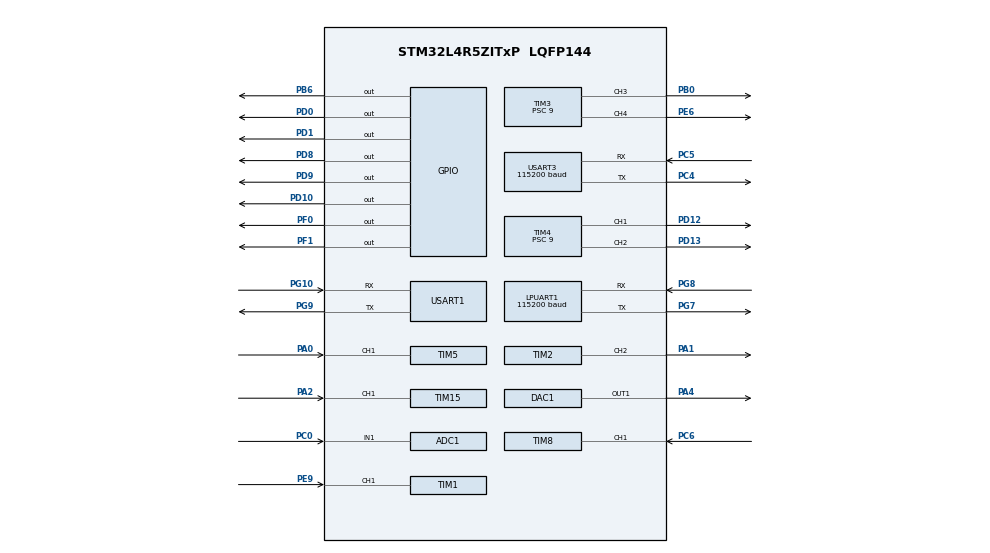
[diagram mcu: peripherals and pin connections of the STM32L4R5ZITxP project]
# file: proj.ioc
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ADC1.Channel-0\#ChannelRegularConversion=ADC_CHANNEL_1
ADC1.ClockPrescaler=ADC_CLOCK_ASYNC_DIV32
ADC1.NbrOfConversionFlag=1
ADC1.OffsetNumber-0\#ChannelRegularConversion=ADC_OFFSET_NONE
ADC1.Rank-0\#ChannelRegularConversion=1
ADC1.SamplingTime-0\#ChannelRegularConversion=ADC_SAMPLETIME_640CYCLES_5
ADC1.master=1
LPUART1.BaudRate=115200
LPUART1.WordLength=UART_WORDLENGTH_8B
Mcu.Family=STM32L4
Mcu.Name=STM32L4R5ZITxP
Mcu.Package=LQFP144
NVIC.PriorityGroup=NVIC_PRIORITYGROUP_4
NVIC.TIM1_BRK_TIM15_IRQn=true\:0\:0\:false\:false\:true\:true\:true\:true
NVIC.TIM1_CC_IRQn=true\:0\:0\:false\:false\:true\:true\:true\:true
NVIC.TIM1_TRG_COM_TIM17_IRQn=true\:0\:0\:false\:false\:true\:true\:true\:true
NVIC.TIM1_UP_TIM16_IRQn=true\:0\:0\:false\:false\:true\:true\:true\:true
NVIC.TIM5_IRQn=true\:0\:0\:false\:false\:true\:true\:true\:true
NVIC.TIM8_BRK_IRQn=true\:0\:0\:false\:false\:true\:true\:true\:true
NVIC.TIM8_CC_IRQn=true\:0\:0\:false\:false\:true\:true\:true\:true
NVIC.TIM8_TRG_COM_IRQn=true\:0\:0\:false\:false\:true\:true\:true\:true
NVIC.TIM8_UP_IRQn=true\:0\:0\:false\:false\:true\:true\:true\:true
NVIC.USART1_IRQn=true\:0\:0\:false\:false\:true\:true\:true\:true
NVIC.USART3_IRQn=true\:0\:0\:false\:false\:true\:true\:true\:true
PA0.Signal=S_TIM5_CH1
PA1.Signal=S_TIM2_CH2
PA10.Signal=USB_OTG_FS_ID
PA13\ (JTMS/SWDIO).Signal=SYS_JTMS-SWDIO
PA14\ (JTCK/SWCLK).Signal=SYS_JTCK-SWCLK
PA2.Signal=S_TIM15_CH1
PA3.Signal=ADCx_IN8
PA4.Signal=COMP_DAC11_group
PA6.Signal=SPI1_MISO
PA7.Signal=SPI1_MOSI
PA8.Signal=USB_OTG_FS_SOF
PA9.Signal=USB_OTG_FS_VBUS
PB0.Signal=S_TIM3_CH3
PB1.Signal=ADCx_IN16
PB10.Signal=S_TIM2_CH3
PB12.Signal=SAI2_FS_A
PB13.Signal=SAI2_SCK_A
PB15.Signal=SAI2_SD_A
PB2.Signal=COMP1_INP
PB3\ (JTDO/TRACESWO).Signal=SPI3_SCK
PB4\ (NJTRST).Signal=SPI3_MISO
PB5.Signal=SPI3_MOSI
PB6.Signal=GPIO_Output
PB8.Signal=I2C1_SCL
PB9.Signal=I2C1_SDA
PC0.Signal=ADCx_IN1
PC1.Signal=ADCx_IN2
PC10.Signal=SDMMC1_D2
PC11.Signal=SDMMC1_D3
PC12.Signal=SDMMC1_CK
PC13.Signal=SYS_WKUP2
PC14-OSC32_IN\ (PC14).Signal=RCC_OSC32_IN
PC15-OSC32_OUT\ (PC15).Signal=RCC_OSC32_OUT
PC2.Signal=ADCx_IN3
PC3.Signal=ADCx_IN4
PC4.Mode=Asynchronous
PC4.Signal=USART3_TX
PC5.Mode=Asynchronous
PC5.Signal=USART3_RX
PC6.Signal=S_TIM8_CH1
PC8.Signal=SDMMC1_D0
PC9.Signal=SDMMC1_D1
PD0.Signal=GPIO_Output
PD1.Signal=GPIO_Output
PD10.Signal=GPIO_Output
PD12.Signal=S_TIM4_CH1
PD13.Signal=S_TIM4_CH2
PD14.Signal=S_TIM4_CH3
PD15.Signal=S_TIM4_CH4
PD2.Signal=SDMMC1_CMD
PD3.Signal=USART2_CTS
PD4.Signal=USART2_RTS
PD5.Signal=USART2_TX
PD6.Signal=USART2_RX
PD8.Signal=GPIO_Output
PD9.Signal=GPIO_Output
PE0.Signal=S_TIM4_ETR
PE10.Signal=TIM1_CH2N
PE11.Signal=S_TIM1_CH2
PE12.Signal=TIM1_CH3N
PE13.Signal=S_TIM1_CH3
PE14.Signal=TIM1_BKIN2
PE15.Signal=TIM1_BKIN
PE2.Signal=SAI1_MCLK_A
PE3.Signal=SAI1_SD_B
PE6.Signal=S_TIM3_CH4
PE7.Signal=S_TIM1_ETR
PE8.Signal=TIM1_CH1N
PE9.Signal=S_TIM1_CH1
PF0.Signal=GPIO_Output
PF1.Signal=GPIO_Output
PF2.Signal=I2C2_SMBA
PF7.Signal=SAI1_MCLK_B
PG10.Mode=Asynchronous
PG10.Signal=USART1_RX
PG7.Mode=Asynchronous
PG7.Signal=LPUART1_TX
PG8.Mode=Asynchronous
PG8.Signal=LPUART1_RX
PG9.Mode=Asynchronous
PG9.Signal=USART1_TX
PH0-OSC_IN\ (PH0).Signal=RCC_OSC_IN
PH1-OSC_OUT\ (PH1).Signal=RCC_OSC_OUT
ProjectManager.HeapSize=0x200
ProjectManager.StackSize=0x400
ProjectManager.TargetToolchain=STM32CubeIDE
RCC.ADCFreq_Value=32000000
RCC.HSE_VALUE=8000000
RCC.HSI48_VALUE=48000000
RCC.HSI_VALUE=16000000
RCC.LSE_VALUE=32768
RCC.MSI_VALUE=4000000
RCC.PLLSAI1N=16
RCC.USBFreq_Value=32000000
RCC.VCOOutputFreq_Value=32000000
SH.ADCx_IN1.0=ADC1_IN1,IN1-Single-Ended
SH.ADCx_IN16.0=ADC1_IN16
SH.ADCx_IN2.0=ADC1_IN2
SH.ADCx_IN3.0=ADC1_IN3
SH.ADCx_IN4.0=ADC1_IN4
SH.ADCx_IN8.0=ADC1_IN8
SH.COMP_DAC11_group.0=DAC1_OUT1,DAC_OUT1
SH.S_TIM15_CH1.0=TIM15_CH1,Input_Capture1_from_TI1
SH.S_TIM1_CH1.0=TIM1_CH1,Input_Capture1_from_TI1
SH.S_TIM1_CH2.0=TIM1_CH2
SH.S_TIM1_CH3.0=TIM1_CH3
SH.S_TIM1_ETR.0=TIM1_ETR
SH.S_TIM2_CH2.0=TIM2_CH2,PWM Generation2 CH2
SH.S_TIM2_CH3.0=TIM2_CH3
SH.S_TIM3_CH3.0=TIM3_CH3,PWM Generation3 CH3
SH.S_TIM3_CH4.0=TIM3_CH4,PWM Generation4 CH4
SH.S_TIM4_CH1.0=TIM4_CH1,PWM Generation1 CH1
SH.S_TIM4_CH2.0=TIM4_CH2,PWM Generation2 CH2
SH.S_TIM4_CH3.0=TIM4_CH3
SH.S_TIM4_CH4.0=TIM4_CH4
SH.S_TIM4_ETR.0=TIM4_ETR
SH.S_TIM5_CH1.0=TIM5_CH1,Input_Capture1_from_TI1
SH.S_TIM8_CH1.0=TIM8_CH1,Input_Capture1_from_TI1
TIM1.Channel-Input_Capture1_from_TI1=TIM_CHANNEL_1
TIM1.Prescaler=3
TIM15.Channel-Input_Capture1_from_TI1=TIM_CHANNEL_1
TIM15.Prescaler=3
TIM2.Channel-PWM\ Generation2\ CH2=TIM_CHANNEL_2
TIM2.Period=65535
TIM2.Pulse-PWM\ Generation2\ CH2=1
TIM3.Channel-PWM\ Generation3\ CH3=TIM_CHANNEL_3
TIM3.Channel-PWM\ Generation4\ CH4=TIM_CHANNEL_4
TIM3.Period=1000
TIM3.Prescaler=9
TIM3.Pulse-PWM\ Generation4\ CH4=500
TIM4.Channel-PWM\ Generation1\ CH1=TIM_CHANNEL_1
TIM4.Channel-PWM\ Generation2\ CH2=TIM_CHANNEL_2
TIM4.Period=1000
TIM4.Prescaler=9
TIM4.Pulse-PWM\ Generation1\ CH1=500
TIM4.Pulse-PWM\ Generation2\ CH2=500
TIM5.Channel-Input_Capture1_from_TI1=TIM_CHANNEL_1
TIM5.Period=65535
TIM5.Prescaler=3
TIM8.Channel-Input_Capture1_from_TI1=TIM_CHANNEL_1
TIM8.Prescaler=3
USART1.VirtualMode-Asynchronous=VM_ASYNC
USART3.BaudRate=115200
USART3.VirtualMode-Asynchronous=VM_ASYNC
VP_TIM15_VS_ClockSourceINT.Mode=Internal
VP_TIM1_VS_ClockSourceINT.Mode=Internal
VP_TIM2_VS_ClockSourceINT.Mode=Internal
VP_TIM3_VS_ClockSourceINT.Mode=Internal
VP_TIM4_VS_ClockSourceINT.Mode=Internal
VP_TIM5_VS_ClockSourceINT.Mode=Internal
VP_TIM8_VS_ClockSourceINT.Mode=Internal
board=NUCLEO-L4R5ZI-P

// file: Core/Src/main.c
/* USER CODE BEGIN Header */
/**
  ******************************************************************************
  * @file           : main.c
  * @brief          : Main program body
  ******************************************************************************
  * @attention
  *
  * Copyright (c) 2023 STMicroelectronics.
  * All rights reserved.
  *
  * This software is licensed under terms that can be found in the LICENSE file
  * in the root directory of this software component.
  * If no LICENSE file comes with this software, it is provided AS-IS.
  *
  ******************************************************************************
  */
/* USER CODE END Header */
#include "main.h"

/* USER CODE BEGIN Includes */
#include "math.h"
#include <stdio.h>

/* USER CODE END Includes */

ADC_HandleTypeDef hadc1;

DAC_HandleTypeDef hdac1;

UART_HandleTypeDef hlpuart1;
UART_HandleTypeDef huart1;
UART_HandleTypeDef huart3;

TIM_HandleTypeDef htim1;
TIM_HandleTypeDef htim2;
TIM_HandleTypeDef htim3;
TIM_HandleTypeDef htim4;
TIM_HandleTypeDef htim5;
TIM_HandleTypeDef htim8;
TIM_HandleTypeDef htim15;

/* USER CODE BEGIN PV */
uint16_t x = 0;
int speed = 0;
char started = 0;
int ePulse = 0;
int ePulse1 = 0;
int ePulse2 = 0;
int ePulse3 = 0;
uint8_t recvBuf[32];
uint8_t getBlocks[] = {
			0xae,
			0xc1,
			0x20,
			0x02,
			0xff,
			0x01
	};
uint8_t buttonRec[4];
/* USER CODE END PV */

void SystemClock_Config(void);
static void MX_GPIO_Init(void);
static void MX_ADC1_Init(void);
static void MX_DAC1_Init(void);
static void MX_TIM4_Init(void);
static void MX_TIM3_Init(void);
static void MX_USART3_UART_Init(void);
static void MX_USART1_UART_Init(void);
static void MX_TIM1_Init(void);
static void MX_TIM2_Init(void);
static void MX_TIM5_Init(void);
static void MX_TIM8_Init(void);
static void MX_TIM15_Init(void);
static void MX_LPUART1_UART_Init(void);

int main(void)
{
  /* USER CODE BEGIN 1 */

	uint8_t i, lenReceived;
	uint8_t versionRequest[] =
	{
			0xae,
			0xc1,
			0x0e,
			0x00
	};

	uint8_t setLED[] = {
			0xae,
			0xc1,
			0x14,
			0x03,
			0x00,
			0xff,
			0x00
	};

  /* USER CODE END 1 */

  /* MCU Configuration--------------------------------------------------------*/

  /* Reset of all peripherals, Initializes the Flash interface and the Systick. */
  HAL_Init();

  /* Configure the system clock */
  SystemClock_Config();

  /* Initialize all configured peripherals */
  MX_GPIO_Init();
  MX_ADC1_Init();
  MX_DAC1_Init();
  MX_TIM4_Init();
  MX_TIM3_Init();
  MX_USART3_UART_Init();
  MX_USART1_UART_Init();
  MX_TIM1_Init();
  MX_TIM2_Init();
  MX_TIM5_Init();
  MX_TIM8_Init();
  MX_TIM15_Init();
  MX_LPUART1_UART_Init();
  /* USER CODE BEGIN 2 */
  HAL_GPIO_WritePin(GPIOB, GPIO_PIN_6, GPIO_PIN_SET);

 // HAL_TIM_Base_Start(&htim2);
  HAL_TIM_PWM_Start(&htim2, TIM_CHANNEL_2); //Starts timer 4
  HAL_TIM_IC_Start_IT(&htim5, TIM_CHANNEL_1); //Starts timer 2
  HAL_TIM_IC_Start_IT(&htim15, TIM_CHANNEL_1); //Starts timer 2
  HAL_TIM_IC_Start_IT(&htim1, TIM_CHANNEL_1); //Starts timer 2
  HAL_TIM_IC_Start_IT(&htim8, TIM_CHANNEL_1); //Starts timer 2

 // HAL_UART_Receive_IT(&huart3, recvBuf, 20);
  //HAL_UART_Transmit(&huart3, getBlocks, 6, 1000);

 // HAL_UART_Transmit_IT(&huart3, getBlocks, 6); //You need to toggle a breakpoint on this line!

  /* USER CODE END 2 */

  /* Infinite loop */
  /* USER CODE BEGIN WHILE */

  //motor
  HAL_GPIO_WritePin(GPIOF,GPIO_PIN_1, GPIO_PIN_SET); //L
  HAL_GPIO_WritePin(GPIOF, GPIO_PIN_0, GPIO_PIN_RESET);
  HAL_GPIO_WritePin(GPIOD, GPIO_PIN_0, GPIO_PIN_RESET);
  HAL_GPIO_WritePin(GPIOD, GPIO_PIN_1, GPIO_PIN_SET);

  HAL_TIM_Base_Start(&htim4); //RIGHT D13 CH2
  HAL_TIM_Base_Start(&htim3); //LEFT B0 CH3
  HAL_TIM_PWM_Start(&htim4, TIM_CHANNEL_2);
  HAL_TIM_PWM_Start(&htim3, TIM_CHANNEL_3);
  set_throttle(htim3, htim4, 0);
//  __HAL_TIM_SET_COMPARE(&htim3, TIM_CHANNEL_3, 999); //L
//  	__HAL_TIM_SET_COMPARE(&htim4, TIM_CHANNEL_2,999); //R
  i = 1;
  //uint16_t x = 0;

  HAL_UART_Receive_IT(&huart1, buttonRec, 1);
 // HAL_UART_Transmit_IT(&huart3, getBlocks, 6);
//  float history[8];
//  int index = 0;
char counter = 0;
int init_pos;

char col_start = 0;
  while (1)
  {
	 if(started){

		const float factor = 1/144.0f;
		const float limit = 40.0f;

		float a = (ePulse * factor > limit) ? limit : ePulse * factor;
		float a1 = (ePulse1 * factor > limit) ? limit : ePulse1 * factor;
		float a2 = (ePulse2 * factor > limit) ? limit : ePulse2 * factor;
		float a3 = (ePulse3 * factor > limit) ? limit : ePulse3 * factor;

		float avgLHS = (a2 * a) * 0.5f;
		float avgCenter = (a + a3) * 0.5f;
		float avgRHS = (a1+ a3) * 0.5f;
		float avg = (a1+ a3 + a + a2) * 0.25f;
		if ((avgLHS < 15) || (avgCenter < 15) ||(avgRHS < 15) || (avg < 15)) {
			++counter;
		}

	  if (counter == 2){
		  counter = 0;
		  HAL_GPIO_WritePin(GPIOF,GPIO_PIN_0, GPIO_PIN_SET);
		  HAL_GPIO_WritePin(GPIOF, GPIO_PIN_1, GPIO_PIN_RESET);
		  HAL_GPIO_WritePin(GPIOD, GPIO_PIN_1, GPIO_PIN_RESET);
		  HAL_GPIO_WritePin(GPIOD, GPIO_PIN_0, GPIO_PIN_SET);
		  HAL_Delay(200);
		  set_throttle(htim3,htim4, 0);
		  HAL_Delay(300);
		  HAL_GPIO_WritePin(GPIOF,GPIO_PIN_1, GPIO_PIN_SET);
		  HAL_GPIO_WritePin(GPIOF, GPIO_PIN_0, GPIO_PIN_RESET);
		  HAL_GPIO_WritePin(GPIOD, GPIO_PIN_0, GPIO_PIN_RESET);
		  HAL_GPIO_WritePin(GPIOD, GPIO_PIN_1, GPIO_PIN_SET);

		  HAL_Delay(1500);
		  a = (ePulse * factor > limit) ? limit : ePulse * factor;
		  a1 = (ePulse1 * factor > limit) ? limit : ePulse1 * factor;
		  a2 = (ePulse2 * factor > limit) ? limit : ePulse2 * factor;
		  a3 = (ePulse3 * factor > limit) ? limit : ePulse3 * factor;

		  avgLHS = (a2 * a) * 0.5f;
		  avgCenter = (a + a3) * 0.5f;
		  avgRHS = (a1+ a3) * 0.5f;
		  avg = (a1+ a3 + a + a2) * 0.25f;

		  if ((avgLHS < 15) || (avgCenter < 15) ||(avgRHS < 15) || (avg < 15)) {
			  HAL_UART_Transmit(&huart3, getBlocks, 6, 500);
			  		 // HAL_UART_Receive(&huart3, recvBuf, 20,500);
			  		  //col_start = 1;

			  		  //x = (((uint16_t)(recvBuf[9]) << 8) + recvBuf[8]);
//			  while (x != init_pos){
//				  a = (ePulse * factor > limit) ? limit : ePulse * factor;
//				  		  a1 = (ePulse1 * factor > limit) ? limit : ePulse1 * factor;
//				  		  a2 = (ePulse2 * factor > limit) ? limit : ePulse2 * factor;
//				  		  a3 = (ePulse3 * factor > limit) ? limit : ePulse3 * factor;
//
//
//				  		  avgLHS = (a2 * a) * 0.5f;
//				  		  avgCenter = (a + a3) * 0.5f;
//				  		  avgRHS = (a1+ a3) * 0.5f;
//				  		  avg = (a1+ a3 + a + a2) * 0.25f;
//				  		  if (!((avgLHS < 15) || (avgCenter < 15) ||(avgRHS < 15) || (avg < 15))){
//				  			  break;
//				  		  }
//				  init_pos = x;
//			  }
			collision_avoidance(htim3, htim4, avg, x);
//			  turn(htim3, htim4, 700, 700, 'L');
//			  HAL_Delay(1200);
//
//			  HAL_GPIO_WritePin(GPIOF,GPIO_PIN_1, GPIO_PIN_SET);
//			  HAL_GPIO_WritePin(GPIOF, GPIO_PIN_0, GPIO_PIN_RESET);
//			  HAL_GPIO_WritePin(GPIOD, GPIO_PIN_0, GPIO_PIN_RESET);
//			  HAL_GPIO_WritePin(GPIOD, GPIO_PIN_1, GPIO_PIN_SET);
//
//			  set_throttle(htim3, htim4, 0);
//			  HAL_Delay(2000);
//			  set_throttle(htim3, htim4, 7);
//			  HAL_Delay(700);
//			  set_throttle(htim3, htim4, 0);
//			  HAL_Delay(20000);

		  }

	  }

	  else {

		  HAL_UART_Transmit(&huart3, getBlocks, 6, 500);
		  HAL_UART_Receive(&huart3, recvBuf, 20,500);
		  col_start = 1;

		  x = (((uint16_t)(recvBuf[9]) << 8) + recvBuf[8]);
		  init_pos = x;
		  center_robot(htim3, htim4, x);
	  }
//	  printf("echo pulse = %d us, distance = %.2f inches\n", ePulse, a);
//	  printf("echo pulse = %d us, distance = %.2f inches\n", ePulse1, a1);
//	  printf("echo pulse = %d us, distance = %.2f inches\n", ePulse2, a2);
//	  printf("echo pulse = %d us, distance = %.2f inches\n", ePulse3, a3);

	  //printf("avg = %.2f inches\n", avg);

	  //pixy

    /* USER CODE END WHILE */

	}
  }
}

void SystemClock_Config(void)
{
  RCC_OscInitTypeDef RCC_OscInitStruct = {0};
  RCC_ClkInitTypeDef RCC_ClkInitStruct = {0};

  /** Configure the main internal regulator output voltage
  */
  if (HAL_PWREx_ControlVoltageScaling(PWR_REGULATOR_VOLTAGE_SCALE1) != HAL_OK)
  {
    Error_Handler();
  }

  /** Initializes the RCC Oscillators according to the specified parameters
  * in the RCC_OscInitTypeDef structure.
  */
  RCC_OscInitStruct.OscillatorType = RCC_OSCILLATORTYPE_MSI;
  RCC_OscInitStruct.MSIState = RCC_MSI_ON;
  RCC_OscInitStruct.MSICalibrationValue = 0;
  RCC_OscInitStruct.MSIClockRange = RCC_MSIRANGE_6;
  RCC_OscInitStruct.PLL.PLLState = RCC_PLL_NONE;
  if (HAL_RCC_OscConfig(&RCC_OscInitStruct) != HAL_OK)
  {
    Error_Handler();
  }

  /** Initializes the CPU, AHB and APB buses clocks
  */
  RCC_ClkInitStruct.ClockType = RCC_CLOCKTYPE_HCLK|RCC_CLOCKTYPE_SYSCLK
                              |RCC_CLOCKTYPE_PCLK1|RCC_CLOCKTYPE_PCLK2;
  RCC_ClkInitStruct.SYSCLKSource = RCC_SYSCLKSOURCE_MSI;
  RCC_ClkInitStruct.AHBCLKDivider = RCC_SYSCLK_DIV1;
  RCC_ClkInitStruct.APB1CLKDivider = RCC_HCLK_DIV1;
  RCC_ClkInitStruct.APB2CLKDivider = RCC_HCLK_DIV1;

  if (HAL_RCC_ClockConfig(&RCC_ClkInitStruct, FLASH_LATENCY_0) != HAL_OK)
  {
    Error_Handler();
  }
}

static void MX_ADC1_Init(void)
{

  ADC_ChannelConfTypeDef sConfig = {0};

  /** Common config
  */
  hadc1.Instance = ADC1;
  hadc1.Init.ClockPrescaler = ADC_CLOCK_ASYNC_DIV32;
  hadc1.Init.Resolution = ADC_RESOLUTION_12B;
  hadc1.Init.DataAlign = ADC_DATAALIGN_RIGHT;
  hadc1.Init.ScanConvMode = ADC_SCAN_DISABLE;
  hadc1.Init.EOCSelection = ADC_EOC_SINGLE_CONV;
  hadc1.Init.LowPowerAutoWait = DISABLE;
  hadc1.Init.ContinuousConvMode = DISABLE;
  hadc1.Init.NbrOfConversion = 1;
  hadc1.Init.DiscontinuousConvMode = DISABLE;
  hadc1.Init.ExternalTrigConv = ADC_SOFTWARE_START;
  hadc1.Init.ExternalTrigConvEdge = ADC_EXTERNALTRIGCONVEDGE_NONE;
  hadc1.Init.DMAContinuousRequests = DISABLE;
  hadc1.Init.Overrun = ADC_OVR_DATA_PRESERVED;
  hadc1.Init.OversamplingMode = DISABLE;
  if (HAL_ADC_Init(&hadc1) != HAL_OK)
  {
    Error_Handler();
  }

  /** Configure Regular Channel
  */
  sConfig.Channel = ADC_CHANNEL_1;
  sConfig.Rank = ADC_REGULAR_RANK_1;
  sConfig.SamplingTime = ADC_SAMPLETIME_640CYCLES_5;
  sConfig.SingleDiff = ADC_SINGLE_ENDED;
  sConfig.OffsetNumber = ADC_OFFSET_NONE;
  sConfig.Offset = 0;
  if (HAL_ADC_ConfigChannel(&hadc1, &sConfig) != HAL_OK)
  {
    Error_Handler();
  }

}

static void MX_DAC1_Init(void)
{

  DAC_ChannelConfTypeDef sConfig = {0};

  /** DAC Initialization
  */
  hdac1.Instance = DAC1;
  if (HAL_DAC_Init(&hdac1) != HAL_OK)
  {
    Error_Handler();
  }

  /** DAC channel OUT1 config
  */
  sConfig.DAC_SampleAndHold = DAC_SAMPLEANDHOLD_DISABLE;
  sConfig.DAC_Trigger = DAC_TRIGGER_NONE;
  sConfig.DAC_HighFrequency = DAC_HIGH_FREQUENCY_INTERFACE_MODE_DISABLE;
  sConfig.DAC_OutputBuffer = DAC_OUTPUTBUFFER_ENABLE;
  sConfig.DAC_ConnectOnChipPeripheral = DAC_CHIPCONNECT_DISABLE;
  sConfig.DAC_UserTrimming = DAC_TRIMMING_FACTORY;
  if (HAL_DAC_ConfigChannel(&hdac1, &sConfig, DAC_CHANNEL_1) != HAL_OK)
  {
    Error_Handler();
  }

}

static void MX_LPUART1_UART_Init(void)
{

  hlpuart1.Instance = LPUART1;
  hlpuart1.Init.BaudRate = 115200;
  hlpuart1.Init.WordLength = UART_WORDLENGTH_8B;
  hlpuart1.Init.StopBits = UART_STOPBITS_1;
  hlpuart1.Init.Parity = UART_PARITY_NONE;
  hlpuart1.Init.Mode = UART_MODE_TX_RX;
  hlpuart1.Init.HwFlowCtl = UART_HWCONTROL_NONE;
  hlpuart1.Init.OneBitSampling = UART_ONE_BIT_SAMPLE_DISABLE;
  hlpuart1.Init.ClockPrescaler = UART_PRESCALER_DIV1;
  hlpuart1.AdvancedInit.AdvFeatureInit = UART_ADVFEATURE_NO_INIT;
  hlpuart1.FifoMode = UART_FIFOMODE_DISABLE;
  if (HAL_UART_Init(&hlpuart1) != HAL_OK)
  {
    Error_Handler();
  }
  if (HAL_UARTEx_SetTxFifoThreshold(&hlpuart1, UART_TXFIFO_THRESHOLD_1_8) != HAL_OK)
  {
    Error_Handler();
  }
  if (HAL_UARTEx_SetRxFifoThreshold(&hlpuart1, UART_RXFIFO_THRESHOLD_1_8) != HAL_OK)
  {
    Error_Handler();
  }
  if (HAL_UARTEx_DisableFifoMode(&hlpuart1) != HAL_OK)
  {
    Error_Handler();
  }

}

static void MX_USART1_UART_Init(void)
{

  huart1.Instance = USART1;
  huart1.Init.BaudRate = 115200;
  huart1.Init.WordLength = UART_WORDLENGTH_8B;
  huart1.Init.StopBits = UART_STOPBITS_1;
  huart1.Init.Parity = UART_PARITY_NONE;
  huart1.Init.Mode = UART_MODE_TX_RX;
  huart1.Init.HwFlowCtl = UART_HWCONTROL_NONE;
  huart1.Init.OverSampling = UART_OVERSAMPLING_16;
  huart1.Init.OneBitSampling = UART_ONE_BIT_SAMPLE_DISABLE;
  huart1.Init.ClockPrescaler = UART_PRESCALER_DIV1;
  huart1.AdvancedInit.AdvFeatureInit = UART_ADVFEATURE_NO_INIT;
  if (HAL_UART_Init(&huart1) != HAL_OK)
  {
    Error_Handler();
  }
  if (HAL_UARTEx_SetTxFifoThreshold(&huart1, UART_TXFIFO_THRESHOLD_1_8) != HAL_OK)
  {
    Error_Handler();
  }
  if (HAL_UARTEx_SetRxFifoThreshold(&huart1, UART_RXFIFO_THRESHOLD_1_8) != HAL_OK)
  {
    Error_Handler();
  }
  if (HAL_UARTEx_DisableFifoMode(&huart1) != HAL_OK)
  {
    Error_Handler();
  }

}

static void MX_USART3_UART_Init(void)
{

  huart3.Instance = USART3;
  huart3.Init.BaudRate = 115200;
  huart3.Init.WordLength = UART_WORDLENGTH_8B;
  huart3.Init.StopBits = UART_STOPBITS_1;
  huart3.Init.Parity = UART_PARITY_NONE;
  huart3.Init.Mode = UART_MODE_TX_RX;
  huart3.Init.HwFlowCtl = UART_HWCONTROL_NONE;
  huart3.Init.OverSampling = UART_OVERSAMPLING_16;
  huart3.Init.OneBitSampling = UART_ONE_BIT_SAMPLE_DISABLE;
  huart3.Init.ClockPrescaler = UART_PRESCALER_DIV1;
  huart3.AdvancedInit.AdvFeatureInit = UART_ADVFEATURE_NO_INIT;
  if (HAL_UART_Init(&huart3) != HAL_OK)
  {
    Error_Handler();
  }
  if (HAL_UARTEx_SetTxFifoThreshold(&huart3, UART_TXFIFO_THRESHOLD_1_8) != HAL_OK)
  {
    Error_Handler();
  }
  if (HAL_UARTEx_SetRxFifoThreshold(&huart3, UART_RXFIFO_THRESHOLD_1_8) != HAL_OK)
  {
    Error_Handler();
  }
  if (HAL_UARTEx_DisableFifoMode(&huart3) != HAL_OK)
  {
    Error_Handler();
  }

}

static void MX_TIM1_Init(void)
{

  TIM_ClockConfigTypeDef sClockSourceConfig = {0};
  TIM_MasterConfigTypeDef sMasterConfig = {0};
  TIM_IC_InitTypeDef sConfigIC = {0};

  htim1.Instance = TIM1;
  htim1.Init.Prescaler = 3;
  htim1.Init.CounterMode = TIM_COUNTERMODE_UP;
  htim1.Init.Period = 65535;
  htim1.Init.ClockDivision = TIM_CLOCKDIVISION_DIV1;
  htim1.Init.RepetitionCounter = 0;
  htim1.Init.AutoReloadPreload = TIM_AUTORELOAD_PRELOAD_DISABLE;
  if (HAL_TIM_Base_Init(&htim1) != HAL_OK)
  {
    Error_Handler();
  }
  sClockSourceConfig.ClockSource = TIM_CLOCKSOURCE_INTERNAL;
  if (HAL_TIM_ConfigClockSource(&htim1, &sClockSourceConfig) != HAL_OK)
  {
    Error_Handler();
  }
  if (HAL_TIM_IC_Init(&htim1) != HAL_OK)
  {
    Error_Handler();
  }
  sMasterConfig.MasterOutputTrigger = TIM_TRGO_RESET;
  sMasterConfig.MasterOutputTrigger2 = TIM_TRGO2_RESET;
  sMasterConfig.MasterSlaveMode = TIM_MASTERSLAVEMODE_DISABLE;
  if (HAL_TIMEx_MasterConfigSynchronization(&htim1, &sMasterConfig) != HAL_OK)
  {
    Error_Handler();
  }
  sConfigIC.ICPolarity = TIM_INPUTCHANNELPOLARITY_RISING;
  sConfigIC.ICSelection = TIM_ICSELECTION_DIRECTTI;
  sConfigIC.ICPrescaler = TIM_ICPSC_DIV1;
  sConfigIC.ICFilter = 0;
  if (HAL_TIM_IC_ConfigChannel(&htim1, &sConfigIC, TIM_CHANNEL_1) != HAL_OK)
  {
    Error_Handler();
  }

}

static void MX_TIM2_Init(void)
{

  TIM_ClockConfigTypeDef sClockSourceConfig = {0};
  TIM_MasterConfigTypeDef sMasterConfig = {0};
  TIM_OC_InitTypeDef sConfigOC = {0};

  htim2.Instance = TIM2;
  htim2.Init.Prescaler = 0;
  htim2.Init.CounterMode = TIM_COUNTERMODE_UP;
  htim2.Init.Period = 65535;
  htim2.Init.ClockDivision = TIM_CLOCKDIVISION_DIV1;
  htim2.Init.AutoReloadPreload = TIM_AUTORELOAD_PRELOAD_DISABLE;
  if (HAL_TIM_Base_Init(&htim2) != HAL_OK)
  {
    Error_Handler();
  }
  sClockSourceConfig.ClockSource = TIM_CLOCKSOURCE_INTERNAL;
  if (HAL_TIM_ConfigClockSource(&htim2, &sClockSourceConfig) != HAL_OK)
  {
    Error_Handler();
  }
  if (HAL_TIM_PWM_Init(&htim2) != HAL_OK)
  {
    Error_Handler();
  }
  sMasterConfig.MasterOutputTrigger = TIM_TRGO_RESET;
  sMasterConfig.MasterSlaveMode = TIM_MASTERSLAVEMODE_DISABLE;
  if (HAL_TIMEx_MasterConfigSynchronization(&htim2, &sMasterConfig) != HAL_OK)
  {
    Error_Handler();
  }
  sConfigOC.OCMode = TIM_OCMODE_PWM1;
  sConfigOC.Pulse = 1;
  sConfigOC.OCPolarity = TIM_OCPOLARITY_HIGH;
  sConfigOC.OCFastMode = TIM_OCFAST_DISABLE;
  if (HAL_TIM_PWM_ConfigChannel(&htim2, &sConfigOC, TIM_CHANNEL_2) != HAL_OK)
  {
    Error_Handler();
  }
  HAL_TIM_MspPostInit(&htim2);

}

static void MX_TIM3_Init(void)
{

  TIM_ClockConfigTypeDef sClockSourceConfig = {0};
  TIM_MasterConfigTypeDef sMasterConfig = {0};
  TIM_OC_InitTypeDef sConfigOC = {0};

  htim3.Instance = TIM3;
  htim3.Init.Prescaler = 9;
  htim3.Init.CounterMode = TIM_COUNTERMODE_UP;
  htim3.Init.Period = 1000;
  htim3.Init.ClockDivision = TIM_CLOCKDIVISION_DIV1;
  htim3.Init.AutoReloadPreload = TIM_AUTORELOAD_PRELOAD_DISABLE;
  if (HAL_TIM_Base_Init(&htim3) != HAL_OK)
  {
    Error_Handler();
  }
  sClockSourceConfig.ClockSource = TIM_CLOCKSOURCE_INTERNAL;
  if (HAL_TIM_ConfigClockSource(&htim3, &sClockSourceConfig) != HAL_OK)
  {
    Error_Handler();
  }
  if (HAL_TIM_PWM_Init(&htim3) != HAL_OK)
  {
    Error_Handler();
  }
  sMasterConfig.MasterOutputTrigger = TIM_TRGO_RESET;
  sMasterConfig.MasterSlaveMode = TIM_MASTERSLAVEMODE_DISABLE;
  if (HAL_TIMEx_MasterConfigSynchronization(&htim3, &sMasterConfig) != HAL_OK)
  {
    Error_Handler();
  }
  sConfigOC.OCMode = TIM_OCMODE_PWM1;
  sConfigOC.Pulse = 0;
  sConfigOC.OCPolarity = TIM_OCPOLARITY_HIGH;
  sConfigOC.OCFastMode = TIM_OCFAST_DISABLE;
  if (HAL_TIM_PWM_ConfigChannel(&htim3, &sConfigOC, TIM_CHANNEL_3) != HAL_OK)
  {
    Error_Handler();
  }
  sConfigOC.Pulse = 500;
  if (HAL_TIM_PWM_ConfigChannel(&htim3, &sConfigOC, TIM_CHANNEL_4) != HAL_OK)
  {
    Error_Handler();
  }
  HAL_TIM_MspPostInit(&htim3);

}

static void MX_TIM4_Init(void)
{

  TIM_ClockConfigTypeDef sClockSourceConfig = {0};
  TIM_MasterConfigTypeDef sMasterConfig = {0};
  TIM_OC_InitTypeDef sConfigOC = {0};

  htim4.Instance = TIM4;
  htim4.Init.Prescaler = 9;
  htim4.Init.CounterMode = TIM_COUNTERMODE_UP;
  htim4.Init.Period = 1000;
  htim4.Init.ClockDivision = TIM_CLOCKDIVISION_DIV1;
  htim4.Init.AutoReloadPreload = TIM_AUTORELOAD_PRELOAD_DISABLE;
  if (HAL_TIM_Base_Init(&htim4) != HAL_OK)
  {
    Error_Handler();
  }
  sClockSourceConfig.ClockSource = TIM_CLOCKSOURCE_INTERNAL;
  if (HAL_TIM_ConfigClockSource(&htim4, &sClockSourceConfig) != HAL_OK)
  {
    Error_Handler();
  }
  if (HAL_TIM_PWM_Init(&htim4) != HAL_OK)
  {
    Error_Handler();
  }
  sMasterConfig.MasterOutputTrigger = TIM_TRGO_RESET;
  sMasterConfig.MasterSlaveMode = TIM_MASTERSLAVEMODE_DISABLE;
  if (HAL_TIMEx_MasterConfigSynchronization(&htim4, &sMasterConfig) != HAL_OK)
  {
    Error_Handler();
  }
  sConfigOC.OCMode = TIM_OCMODE_PWM1;
  sConfigOC.Pulse = 500;
  sConfigOC.OCPolarity = TIM_OCPOLARITY_HIGH;
  sConfigOC.OCFastMode = TIM_OCFAST_DISABLE;
  if (HAL_TIM_PWM_ConfigChannel(&htim4, &sConfigOC, TIM_CHANNEL_1) != HAL_OK)
  {
    Error_Handler();
  }
  if (HAL_TIM_PWM_ConfigChannel(&htim4, &sConfigOC, TIM_CHANNEL_2) != HAL_OK)
  {
    Error_Handler();
  }
  HAL_TIM_MspPostInit(&htim4);

}

static void MX_TIM5_Init(void)
{

  TIM_ClockConfigTypeDef sClockSourceConfig = {0};
  TIM_MasterConfigTypeDef sMasterConfig = {0};
  TIM_IC_InitTypeDef sConfigIC = {0};

  htim5.Instance = TIM5;
  htim5.Init.Prescaler = 3;
  htim5.Init.CounterMode = TIM_COUNTERMODE_UP;
  htim5.Init.Period = 65535;
  htim5.Init.ClockDivision = TIM_CLOCKDIVISION_DIV1;
  htim5.Init.AutoReloadPreload = TIM_AUTORELOAD_PRELOAD_DISABLE;
  if (HAL_TIM_Base_Init(&htim5) != HAL_OK)
  {
    Error_Handler();
  }
  sClockSourceConfig.ClockSource = TIM_CLOCKSOURCE_INTERNAL;
  if (HAL_TIM_ConfigClockSource(&htim5, &sClockSourceConfig) != HAL_OK)
  {
    Error_Handler();
  }
  if (HAL_TIM_IC_Init(&htim5) != HAL_OK)
  {
    Error_Handler();
  }
  sMasterConfig.MasterOutputTrigger = TIM_TRGO_RESET;
  sMasterConfig.MasterSlaveMode = TIM_MASTERSLAVEMODE_DISABLE;
  if (HAL_TIMEx_MasterConfigSynchronization(&htim5, &sMasterConfig) != HAL_OK)
  {
    Error_Handler();
  }
  sConfigIC.ICPolarity = TIM_INPUTCHANNELPOLARITY_RISING;
  sConfigIC.ICSelection = TIM_ICSELECTION_DIRECTTI;
  sConfigIC.ICPrescaler = TIM_ICPSC_DIV1;
  sConfigIC.ICFilter = 0;
  if (HAL_TIM_IC_ConfigChannel(&htim5, &sConfigIC, TIM_CHANNEL_1) != HAL_OK)
  {
    Error_Handler();
  }

}

static void MX_TIM8_Init(void)
{

  TIM_ClockConfigTypeDef sClockSourceConfig = {0};
  TIM_MasterConfigTypeDef sMasterConfig = {0};
  TIM_IC_InitTypeDef sConfigIC = {0};

  htim8.Instance = TIM8;
  htim8.Init.Prescaler = 3;
  htim8.Init.CounterMode = TIM_COUNTERMODE_UP;
  htim8.Init.Period = 65535;
  htim8.Init.ClockDivision = TIM_CLOCKDIVISION_DIV1;
  htim8.Init.RepetitionCounter = 0;
  htim8.Init.AutoReloadPreload = TIM_AUTORELOAD_PRELOAD_DISABLE;
  if (HAL_TIM_Base_Init(&htim8) != HAL_OK)
  {
    Error_Handler();
  }
  sClockSourceConfig.ClockSource = TIM_CLOCKSOURCE_INTERNAL;
  if (HAL_TIM_ConfigClockSource(&htim8, &sClockSourceConfig) != HAL_OK)
  {
    Error_Handler();
  }
  if (HAL_TIM_IC_Init(&htim8) != HAL_OK)
  {
    Error_Handler();
  }
  sMasterConfig.MasterOutputTrigger = TIM_TRGO_RESET;
  sMasterConfig.MasterOutputTrigger2 = TIM_TRGO2_RESET;
  sMasterConfig.MasterSlaveMode = TIM_MASTERSLAVEMODE_DISABLE;
  if (HAL_TIMEx_MasterConfigSynchronization(&htim8, &sMasterConfig) != HAL_OK)
  {
    Error_Handler();
  }
  sConfigIC.ICPolarity = TIM_INPUTCHANNELPOLARITY_RISING;
  sConfigIC.ICSelection = TIM_ICSELECTION_DIRECTTI;
  sConfigIC.ICPrescaler = TIM_ICPSC_DIV1;
  sConfigIC.ICFilter = 0;
  if (HAL_TIM_IC_ConfigChannel(&htim8, &sConfigIC, TIM_CHANNEL_1) != HAL_OK)
  {
    Error_Handler();
  }

}

static void MX_TIM15_Init(void)
{

  TIM_ClockConfigTypeDef sClockSourceConfig = {0};
  TIM_MasterConfigTypeDef sMasterConfig = {0};
  TIM_IC_InitTypeDef sConfigIC = {0};

  htim15.Instance = TIM15;
  htim15.Init.Prescaler = 3;
  htim15.Init.CounterMode = TIM_COUNTERMODE_UP;
  htim15.Init.Period = 65535;
  htim15.Init.ClockDivision = TIM_CLOCKDIVISION_DIV1;
  htim15.Init.RepetitionCounter = 0;
  htim15.Init.AutoReloadPreload = TIM_AUTORELOAD_PRELOAD_DISABLE;
  if (HAL_TIM_Base_Init(&htim15) != HAL_OK)
  {
    Error_Handler();
  }
  sClockSourceConfig.ClockSource = TIM_CLOCKSOURCE_INTERNAL;
  if (HAL_TIM_ConfigClockSource(&htim15, &sClockSourceConfig) != HAL_OK)
  {
    Error_Handler();
  }
  if (HAL_TIM_IC_Init(&htim15) != HAL_OK)
  {
    Error_Handler();
  }
  sMasterConfig.MasterOutputTrigger = TIM_TRGO_RESET;
  sMasterConfig.MasterSlaveMode = TIM_MASTERSLAVEMODE_DISABLE;
  if (HAL_TIMEx_MasterConfigSynchronization(&htim15, &sMasterConfig) != HAL_OK)
  {
    Error_Handler();
  }
  sConfigIC.ICPolarity = TIM_INPUTCHANNELPOLARITY_RISING;
  sConfigIC.ICSelection = TIM_ICSELECTION_DIRECTTI;
  sConfigIC.ICPrescaler = TIM_ICPSC_DIV1;
  sConfigIC.ICFilter = 0;
  if (HAL_TIM_IC_ConfigChannel(&htim15, &sConfigIC, TIM_CHANNEL_1) != HAL_OK)
  {
    Error_Handler();
  }

}

static void MX_GPIO_Init(void)
{
  GPIO_InitTypeDef GPIO_InitStruct = {0};

  /* GPIO Ports Clock Enable */
  __HAL_RCC_GPIOE_CLK_ENABLE();
  __HAL_RCC_GPIOC_CLK_ENABLE();
  __HAL_RCC_GPIOF_CLK_ENABLE();
  __HAL_RCC_GPIOH_CLK_ENABLE();
  __HAL_RCC_GPIOA_CLK_ENABLE();
  __HAL_RCC_GPIOB_CLK_ENABLE();
  __HAL_RCC_GPIOD_CLK_ENABLE();
  __HAL_RCC_GPIOG_CLK_ENABLE();
  HAL_PWREx_EnableVddIO2();

  /*Configure GPIO pin Output Level */
  HAL_GPIO_WritePin(GPIOF, GPIO_PIN_0|GPIO_PIN_1, GPIO_PIN_RESET);

  /*Configure GPIO pin Output Level */
  HAL_GPIO_WritePin(GPIOD, GPIO_PIN_8|GPIO_PIN_9|GPIO_PIN_10|GPIO_PIN_0
                          |GPIO_PIN_1, GPIO_PIN_RESET);

  /*Configure GPIO pin Output Level */
  HAL_GPIO_WritePin(GPIOB, GPIO_PIN_6, GPIO_PIN_RESET);

  /*Configure GPIO pins : PE2 PE3 */
  GPIO_InitStruct.Pin = GPIO_PIN_2|GPIO_PIN_3;
  GPIO_InitStruct.Mode = GPIO_MODE_AF_PP;
  GPIO_InitStruct.Pull = GPIO_NOPULL;
  GPIO_InitStruct.Speed = GPIO_SPEED_FREQ_LOW;
  GPIO_InitStruct.Alternate = GPIO_AF13_SAI1;
  HAL_GPIO_Init(GPIOE, &GPIO_InitStruct);

  /*Configure GPIO pins : PF0 PF1 */
  GPIO_InitStruct.Pin = GPIO_PIN_0|GPIO_PIN_1;
  GPIO_InitStruct.Mode = GPIO_MODE_OUTPUT_PP;
  GPIO_InitStruct.Pull = GPIO_NOPULL;
  GPIO_InitStruct.Speed = GPIO_SPEED_FREQ_LOW;
  HAL_GPIO_Init(GPIOF, &GPIO_InitStruct);

  /*Configure GPIO pin : PF2 */
  GPIO_InitStruct.Pin = GPIO_PIN_2;
  GPIO_InitStruct.Mode = GPIO_MODE_AF_OD;
  GPIO_InitStruct.Pull = GPIO_NOPULL;
  GPIO_InitStruct.Speed = GPIO_SPEED_FREQ_VERY_HIGH;
  GPIO_InitStruct.Alternate = GPIO_AF4_I2C2;
  HAL_GPIO_Init(GPIOF, &GPIO_InitStruct);

  /*Configure GPIO pin : PF7 */
  GPIO_InitStruct.Pin = GPIO_PIN_7;
  GPIO_InitStruct.Mode = GPIO_MODE_AF_PP;
  GPIO_InitStruct.Pull = GPIO_NOPULL;
  GPIO_InitStruct.Speed = GPIO_SPEED_FREQ_LOW;
  GPIO_InitStruct.Alternate = GPIO_AF13_SAI1;
  HAL_GPIO_Init(GPIOF, &GPIO_InitStruct);

  /*Configure GPIO pins : PA6 PA7 */
  GPIO_InitStruct.Pin = GPIO_PIN_6|GPIO_PIN_7;
  GPIO_InitStruct.Mode = GPIO_MODE_AF_PP;
  GPIO_InitStruct.Pull = GPIO_NOPULL;
  GPIO_InitStruct.Speed = GPIO_SPEED_FREQ_VERY_HIGH;
  GPIO_InitStruct.Alternate = GPIO_AF5_SPI1;
  HAL_GPIO_Init(GPIOA, &GPIO_InitStruct);

  /*Configure GPIO pin : PB2 */
  GPIO_InitStruct.Pin = GPIO_PIN_2;
  GPIO_InitStruct.Mode = GPIO_MODE_ANALOG;
  GPIO_InitStruct.Pull = GPIO_NOPULL;
  HAL_GPIO_Init(GPIOB, &GPIO_InitStruct);

  /*Configure GPIO pins : PB12 PB13 PB15 */
  GPIO_InitStruct.Pin = GPIO_PIN_12|GPIO_PIN_13|GPIO_PIN_15;
  GPIO_InitStruct.Mode = GPIO_MODE_AF_PP;
  GPIO_InitStruct.Pull = GPIO_NOPULL;
  GPIO_InitStruct.Speed = GPIO_SPEED_FREQ_LOW;
  GPIO_InitStruct.Alternate = GPIO_AF13_SAI2;
  HAL_GPIO_Init(GPIOB, &GPIO_InitStruct);

  /*Configure GPIO pins : PD8 PD9 PD10 PD0
                           PD1 */
  GPIO_InitStruct.Pin = GPIO_PIN_8|GPIO_PIN_9|GPIO_PIN_10|GPIO_PIN_0
                          |GPIO_PIN_1;
  GPIO_InitStruct.Mode = GPIO_MODE_OUTPUT_PP;
  GPIO_InitStruct.Pull = GPIO_NOPULL;
  GPIO_InitStruct.Speed = GPIO_SPEED_FREQ_LOW;
  HAL_GPIO_Init(GPIOD, &GPIO_InitStruct);

  /*Configure GPIO pins : PC8 PC9 PC10 PC11
                           PC12 */
  GPIO_InitStruct.Pin = GPIO_PIN_8|GPIO_PIN_9|GPIO_PIN_10|GPIO_PIN_11
                          |GPIO_PIN_12;
  GPIO_InitStruct.Mode = GPIO_MODE_AF_PP;
  GPIO_InitStruct.Pull = GPIO_NOPULL;
  GPIO_InitStruct.Speed = GPIO_SPEED_FREQ_VERY_HIGH;
  GPIO_InitStruct.Alternate = GPIO_AF12_SDMMC1;
  HAL_GPIO_Init(GPIOC, &GPIO_InitStruct);

  /*Configure GPIO pins : PA8 PA10 */
  GPIO_InitStruct.Pin = GPIO_PIN_8|GPIO_PIN_10;
  GPIO_InitStruct.Mode = GPIO_MODE_AF_PP;
  GPIO_InitStruct.Pull = GPIO_NOPULL;
  GPIO_InitStruct.Speed = GPIO_SPEED_FREQ_VERY_HIGH;
  GPIO_InitStruct.Alternate = GPIO_AF10_OTG_FS;
  HAL_GPIO_Init(GPIOA, &GPIO_InitStruct);

  /*Configure GPIO pin : PA9 */
  GPIO_InitStruct.Pin = GPIO_PIN_9;
  GPIO_InitStruct.Mode = GPIO_MODE_INPUT;
  GPIO_InitStruct.Pull = GPIO_NOPULL;
  HAL_GPIO_Init(GPIOA, &GPIO_InitStruct);

  /*Configure GPIO pin : PD2 */
  GPIO_InitStruct.Pin = GPIO_PIN_2;
  GPIO_InitStruct.Mode = GPIO_MODE_AF_PP;
  GPIO_InitStruct.Pull = GPIO_NOPULL;
  GPIO_InitStruct.Speed = GPIO_SPEED_FREQ_VERY_HIGH;
  GPIO_InitStruct.Alternate = GPIO_AF12_SDMMC1;
  HAL_GPIO_Init(GPIOD, &GPIO_InitStruct);

  /*Configure GPIO pins : PD3 PD4 PD5 PD6 */
  GPIO_InitStruct.Pin = GPIO_PIN_3|GPIO_PIN_4|GPIO_PIN_5|GPIO_PIN_6;
  GPIO_InitStruct.Mode = GPIO_MODE_AF_PP;
  GPIO_InitStruct.Pull = GPIO_NOPULL;
  GPIO_InitStruct.Speed = GPIO_SPEED_FREQ_VERY_HIGH;
  GPIO_InitStruct.Alternate = GPIO_AF7_USART2;
  HAL_GPIO_Init(GPIOD, &GPIO_InitStruct);

  /*Configure GPIO pins : PB3 PB4 PB5 */
  GPIO_InitStruct.Pin = GPIO_PIN_3|GPIO_PIN_4|GPIO_PIN_5;
  GPIO_InitStruct.Mode = GPIO_MODE_AF_PP;
  GPIO_InitStruct.Pull = GPIO_NOPULL;
  GPIO_InitStruct.Speed = GPIO_SPEED_FREQ_VERY_HIGH;
  GPIO_InitStruct.Alternate = GPIO_AF6_SPI3;
  HAL_GPIO_Init(GPIOB, &GPIO_InitStruct);

  /*Configure GPIO pin : PB6 */
  GPIO_InitStruct.Pin = GPIO_PIN_6;
  GPIO_InitStruct.Mode = GPIO_MODE_OUTPUT_PP;
  GPIO_InitStruct.Pull = GPIO_NOPULL;
  GPIO_InitStruct.Speed = GPIO_SPEED_FREQ_LOW;
  HAL_GPIO_Init(GPIOB, &GPIO_InitStruct);

  /*Configure GPIO pins : PB8 PB9 */
  GPIO_InitStruct.Pin = GPIO_PIN_8|GPIO_PIN_9;
  GPIO_InitStruct.Mode = GPIO_MODE_AF_OD;
  GPIO_InitStruct.Pull = GPIO_NOPULL;
  GPIO_InitStruct.Speed = GPIO_SPEED_FREQ_VERY_HIGH;
  GPIO_InitStruct.Alternate = GPIO_AF4_I2C1;
  HAL_GPIO_Init(GPIOB, &GPIO_InitStruct);

}

/* USER CODE BEGIN 4 */
//void HAL_UART_RxCpltCallback(UART_HandleTypeDef *huart)
//{
//  HAL_UART_Transmit_IT(&huart3, recvBuf, 20); //You need to toggle a breakpoint on this line!
//
//}
//void HAL_UART_TxCpltCallback(UART_HandleTypeDef *huart)
//{
//  HAL_UART_Receive_IT(&huart3, recvBuf, 20); //You need to toggle a breakpoint on this line!
//
//}
#ifdef __GNUC__
#define PUTCHAR_PROTOTYPE int __io_putchar(int ch)
#else
	#define PUTCHAR_PROTOTYPE int fputc(int ch, FILE *f)
#endif

PUTCHAR_PROTOTYPE
{
	HAL_UART_Transmit(&hlpuart1, (uint8_t*)&ch,1,0xFFFF);
	return ch;
}

/* USER CODE END 4 */

void Error_Handler(void)
{
  __disable_irq();
  while (1)
  {
  }
}
